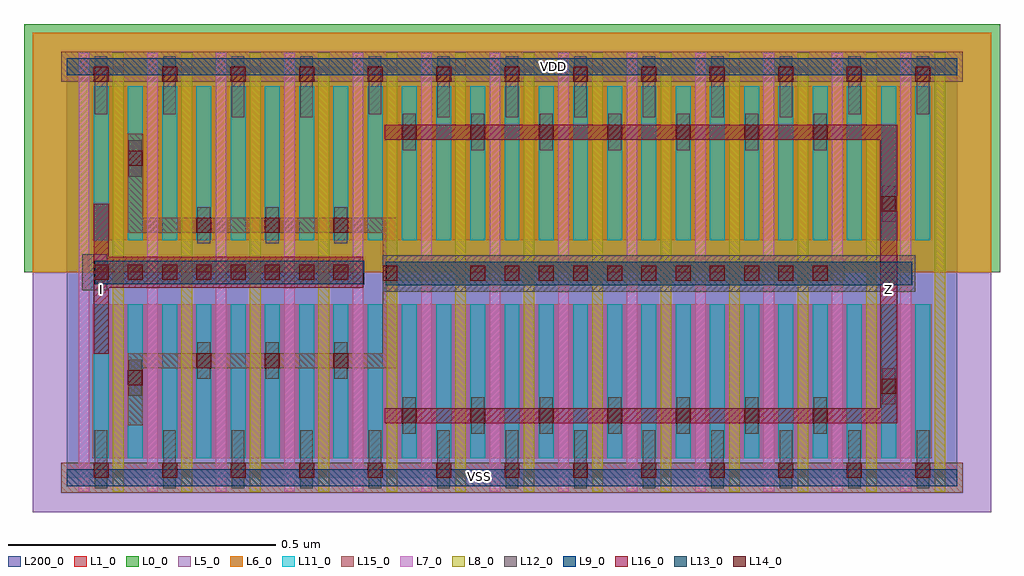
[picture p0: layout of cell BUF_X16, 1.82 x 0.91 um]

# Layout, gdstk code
import gdstk
lib = gdstk.Library(unit=1e-6, precision=1e-09)
def R(c, l, rs):  # rectangles x0, y0, x1, y1
    for r in rs: c.add(gdstk.rectangle(r[:2], r[2:], *l))
def A(c, l, x, y, w, h, nx, ny, dx, dy):  # array of equal rectangles
    R(c, l, [(x+i*dx, y+j*dy, x+i*dx+w, y+j*dy+h) for i in range(nx) for j in range(ny)])
def P(c, l, *ps):  # polygons
    for p in ps: c.add(gdstk.Polygon(p, *l))
L0_0 = (0, 0)
L1_0 = (1, 0)
L5_0 = (5, 0)
L6_0 = (6, 0)
L7_0 = (7, 0)
L8_0 = (8, 0)
L9_0 = (9, 0)
L11_0 = (11, 0)
L12_0 = (12, 0)
L13_0 = (13, 0)
L14_0 = (14, 0)
L15_0 = (15, 0)
L16_0 = (16, 0)
L200_0 = (200, 0)

buf_x16 = lib.new_cell('BUF_X16')
R(buf_x16, L0_0, [(-0.08,0.384,1.744,0.848)])
R(buf_x16, L1_0, [(0.048,0.036,1.616,0.324), (0.048,0.444,1.616,0.732)])
R(buf_x16, L5_0, [(-0.064,-0.064,1.728,0.384)])
R(buf_x16, L6_0, [(-0.064,0.384,1.728,0.832)])
A(buf_x16, L7_0, 0.022, -0.026, 0.02, 0.82, 13, 1, 0.128, 0)
A(buf_x16, L8_0, 0.086, -0.026, 0.02, 0.82, 13, 1, 0.128, 0)
R(buf_x16, L9_0, [(0,-0.016,1.664,0.016), (0,0.752,1.664,0.784)])
A(buf_x16, L11_0, 0.05, 0.036, 0.028, 0.288, 25, 2, 0.064, 0.408)
A(buf_x16, L12_0, 0.052, -0.02, 0.024, 0.109, 13, 1, 0.128, 0)
A(buf_x16, L12_0, 0.628, 0.082, 0.024, 0.068, 7, 2, 0.128, 0.53)
A(buf_x16, L12_0, 0.244, 0.185, 0.024, 0.068, 3, 2, 0.128, 0.253)
A(buf_x16, L12_0, 0.692, 0.674, 0.024, 0.114, 6, 1, 0.128, 0)
R(buf_x16, L12_0, [(1.524,0.137,1.548,0.205), (0.116,0.153,0.14,0.221), (0.59,0.348,1.586,0.416), (0.029,0.35,0.076,0.418), (1.524,0.478,1.548,0.546), (0.116,0.563,0.14,0.631), (0.308,0.674,0.332,0.788), (0.436,0.674,0.46,0.788), (0.052,0.679,0.076,0.788), (0.18,0.679,0.204,0.788), (0.564,0.679,0.588,0.788), (1.46,0.679,1.484,0.788), (1.588,0.679,1.612,0.788)])
R(buf_x16, L13_0, [(0.596,0.36,1.58,0.404), (0.052,0.362,0.556,0.406)])
A(buf_x16, L14_0, 0.05, 0, 0.028, 0.028, 13, 2, 0.128, 0.74)
A(buf_x16, L14_0, 0.626, 0.102, 0.028, 0.028, 7, 2, 0.128, 0.53)
A(buf_x16, L14_0, 0.242, 0.205, 0.028, 0.028, 3, 2, 0.128, 0.253)
A(buf_x16, L14_0, 0.754, 0.368, 0.028, 0.028, 11, 1, 0.064, 0)
A(buf_x16, L14_0, 0.05, 0.37, 0.028, 0.028, 8, 1, 0.064, 0)
R(buf_x16, L14_0, [(1.522,0.157,1.55,0.185), (0.114,0.173,0.142,0.201), (0.59,0.368,0.618,0.396), (1.522,0.498,1.55,0.526), (0.114,0.583,0.142,0.611)])
R(buf_x16, L15_0, [(-0.01,-0.028,1.674,0.028), (-0.01,0.74,1.674,0.796)])
P(buf_x16, L15_0, [(0.114,0.458),(0.59,0.458),(0.59,0.233),(0.114,0.233),(0.114,0.098),(0.142,0.098),(0.142,0.205),(0.618,0.205),(0.618,0.368),(1.454,0.368),(1.454,0.396),(0.618,0.396),(0.618,0.486),(0.142,0.486),(0.142,0.643),(0.114,0.643)])
P(buf_x16, L16_0, [(0.05,0.232),(0.078,0.232),(0.078,0.355),(0.554,0.355),(0.554,0.413),(0.078,0.413),(0.078,0.512),(0.05,0.512)],
  [(0.594,0.632),(1.52,0.632),(1.52,0.13),(0.594,0.13),(0.594,0.102),(1.552,0.102),(1.552,0.66),(0.594,0.66)])
R(buf_x16, L200_0, [(0,0,1.664,0.768)])
buf_x16.add(gdstk.Label('VSS', (0.771,0.002), layer=15, texttype=20))
buf_x16.add(gdstk.Label('VDD', (0.91,0.769), layer=15, texttype=20))
buf_x16.add(gdstk.Label('I', (0.064,0.352), layer=16, texttype=20))
buf_x16.add(gdstk.Label('Z', (1.536,0.352), layer=16, texttype=20))

lib.write_gds('BUF_X16.gds')
